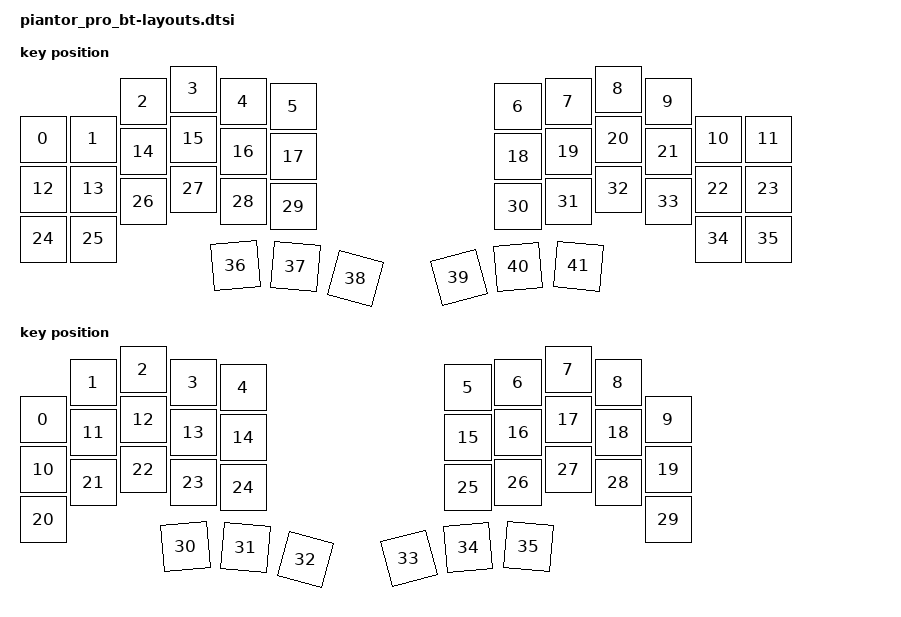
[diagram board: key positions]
#include <physical_layouts.dtsi>

/ {
    piantor_position_map {
        compatible = "zmk,physical-layout-position-map";
        complete;

        default_map: six_col {
            physical-layout = <&default_layout>;
            positions
                = < 0  1  2  3  4  5  6  7  8  9 10 11>
                , <12 13 14 15 16 17 18 19 20 21 22 23>
                , <24 25 26 27 28 29 30 31 32 33 34 35>
                , <         36 37 38 39 40 41         >;
        };

        five_col_map: five_col {
            physical-layout = <&five_col_layout>;
            positions
                = <41  0  1  2  3  4  5  6  7  8  9 40>
                , <39 10 11 12 13 14 15 16 17 18 19 38>
                , <37 20 21 22 23 24 25 26 27 28 29 36>
                , <         30 31 32 33 34 35         >;
        };
    };
};

/ {
    default_layout: default_layout {
        compatible = "zmk,physical-layout";
        display-name = "Default Layout";
        keys  //                     w   h    x    y     rot    rx    ry
            = <&key_physical_attrs 100 100    0  100       0     0     0>
            , <&key_physical_attrs 100 100  100  100       0     0     0>
            , <&key_physical_attrs 100 100  200   25       0     0     0>
            , <&key_physical_attrs 100 100  300    0       0     0     0>
            , <&key_physical_attrs 100 100  400   25       0     0     0>
            , <&key_physical_attrs 100 100  500   35       0     0     0>
            , <&key_physical_attrs 100 100  950   35       0     0     0>
            , <&key_physical_attrs 100 100 1050   25       0     0     0>
            , <&key_physical_attrs 100 100 1150    0       0     0     0>
            , <&key_physical_attrs 100 100 1250   25       0     0     0>
            , <&key_physical_attrs 100 100 1350  100       0     0     0>
            , <&key_physical_attrs 100 100 1450  100       0     0     0>
            , <&key_physical_attrs 100 100    0  200       0     0     0>
            , <&key_physical_attrs 100 100  100  200       0     0     0>
            , <&key_physical_attrs 100 100  200  125       0     0     0>
            , <&key_physical_attrs 100 100  300  100       0     0     0>
            , <&key_physical_attrs 100 100  400  125       0     0     0>
            , <&key_physical_attrs 100 100  500  135       0     0     0>
            , <&key_physical_attrs 100 100  950  135       0     0     0>
            , <&key_physical_attrs 100 100 1050  125       0     0     0>
            , <&key_physical_attrs 100 100 1150  100       0     0     0>
            , <&key_physical_attrs 100 100 1250  125       0     0     0>
            , <&key_physical_attrs 100 100 1350  200       0     0     0>
            , <&key_physical_attrs 100 100 1450  200       0     0     0>
            , <&key_physical_attrs 100 100    0  300       0     0     0>
            , <&key_physical_attrs 100 100  100  300       0     0     0>
            , <&key_physical_attrs 100 100  200  225       0     0     0>
            , <&key_physical_attrs 100 100  300  200       0     0     0>
            , <&key_physical_attrs 100 100  400  225       0     0     0>
            , <&key_physical_attrs 100 100  500  235       0     0     0>
            , <&key_physical_attrs 100 100  950  235       0     0     0>
            , <&key_physical_attrs 100 100 1050  225       0     0     0>
            , <&key_physical_attrs 100 100 1150  200       0     0     0>
            , <&key_physical_attrs 100 100 1250  225       0     0     0>
            , <&key_physical_attrs 100 100 1350  300       0     0     0>
            , <&key_physical_attrs 100 100 1450  300       0     0     0>
            , <&key_physical_attrs 100 100  380  360  (-500)   360   350>
            , <&key_physical_attrs 100 100  510  350     500   500   350>
            , <&key_physical_attrs 100 100  645  370    1500   650   350>
            , <&key_physical_attrs 100 100  810  389 (-1500)   825   350>
            , <&key_physical_attrs 100 100  945  360  (-500)   950   350>
            , <&key_physical_attrs 100 100 1075  350     500  1075   350>
            ;
    };

    five_col_layout: five_col_layout {
        compatible = "zmk,physical-layout";
        display-name = "5-Col Layout";
        keys  //                     w   h    x    y     rot    rx    ry
            = <&key_physical_attrs 100 100    0  100       0     0     0>
            , <&key_physical_attrs 100 100  100   25       0     0     0>
            , <&key_physical_attrs 100 100  200    0       0     0     0>
            , <&key_physical_attrs 100 100  300   25       0     0     0>
            , <&key_physical_attrs 100 100  400   35       0     0     0>
            , <&key_physical_attrs 100 100  850   35       0     0     0>
            , <&key_physical_attrs 100 100  950   25       0     0     0>
            , <&key_physical_attrs 100 100 1050    0       0     0     0>
            , <&key_physical_attrs 100 100 1150   25       0     0     0>
            , <&key_physical_attrs 100 100 1250  100       0     0     0>
            , <&key_physical_attrs 100 100    0  200       0     0     0>
            , <&key_physical_attrs 100 100  100  125       0     0     0>
            , <&key_physical_attrs 100 100  200  100       0     0     0>
            , <&key_physical_attrs 100 100  300  125       0     0     0>
            , <&key_physical_attrs 100 100  400  135       0     0     0>
            , <&key_physical_attrs 100 100  850  135       0     0     0>
            , <&key_physical_attrs 100 100  950  125       0     0     0>
            , <&key_physical_attrs 100 100 1050  100       0     0     0>
            , <&key_physical_attrs 100 100 1150  125       0     0     0>
            , <&key_physical_attrs 100 100 1250  200       0     0     0>
            , <&key_physical_attrs 100 100    0  300       0     0     0>
            , <&key_physical_attrs 100 100  100  225       0     0     0>
            , <&key_physical_attrs 100 100  200  200       0     0     0>
            , <&key_physical_attrs 100 100  300  225       0     0     0>
            , <&key_physical_attrs 100 100  400  235       0     0     0>
            , <&key_physical_attrs 100 100  850  235       0     0     0>
            , <&key_physical_attrs 100 100  950  225       0     0     0>
            , <&key_physical_attrs 100 100 1050  200       0     0     0>
            , <&key_physical_attrs 100 100 1150  225       0     0     0>
            , <&key_physical_attrs 100 100 1250  300       0     0     0>
            , <&key_physical_attrs 100 100  280  360  (-500)   260   350>
            , <&key_physical_attrs 100 100  410  350     500   400   350>
            , <&key_physical_attrs 100 100  545  370    1500   550   350>
            , <&key_physical_attrs 100 100  710  389 (-1500)   725   350>
            , <&key_physical_attrs 100 100  845  360  (-500)   850   350>
            , <&key_physical_attrs 100 100  975  350     500   975   350>
            ;
    };
};
